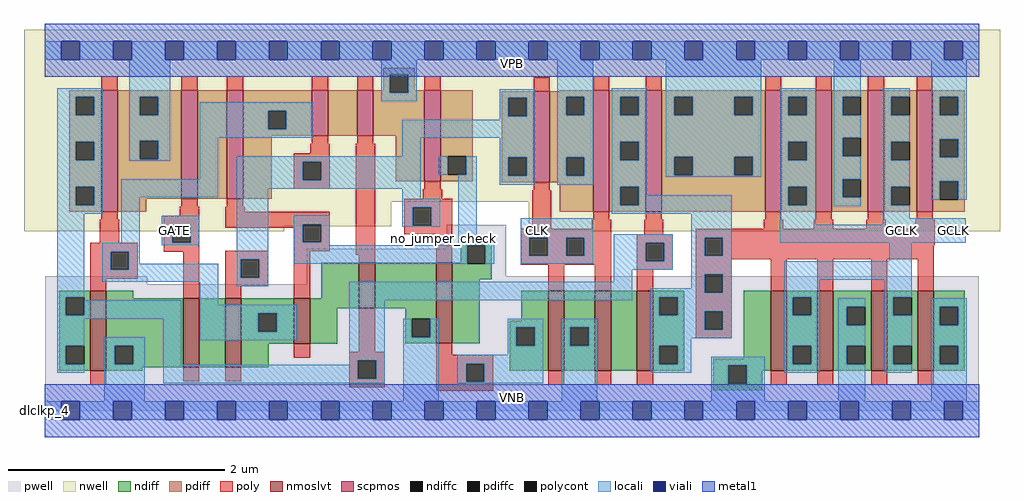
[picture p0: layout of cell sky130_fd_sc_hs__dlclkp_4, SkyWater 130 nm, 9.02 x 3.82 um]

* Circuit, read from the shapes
.subckt sky130_fd_sc_hs__dlclkp_4 CLK GATE VGND VNB VPB VPWR GCLK
XM1 VGND n1 n2 VNB sky130_fd_pr__nfet_01v8_lvt w=0.74 l=0.15
XM2 n3 GATE VGND VNB sky130_fd_pr__nfet_01v8_lvt w=0.64 l=0.15
XM3 n1 n4 n3 VNB sky130_fd_pr__nfet_01v8_lvt w=0.64 l=0.15
XM4 n5 n6 n1 VNB sky130_fd_pr__nfet_01v8_lvt w=0.42 l=0.15
XM5 VGND n2 n5 VNB sky130_fd_pr__nfet_01v8_lvt w=0.42 l=0.15
XM6 n6 n4 VGND VNB sky130_fd_pr__nfet_01v8_lvt w=0.74 l=0.15
XM7 VGND CLK n4 VNB sky130_fd_pr__nfet_01v8_lvt w=0.74 l=0.15
XM8 n7 CLK VGND VNB sky130_fd_pr__nfet_01v8_lvt w=0.74 l=0.15
XM9 n8 n2 n7 VNB sky130_fd_pr__nfet_01v8_lvt w=0.74 l=0.15
XM10 GCLK n8 VGND VNB sky130_fd_pr__nfet_01v8_lvt w=0.74 l=0.15 m=4
XM11 VPWR n1 n2 VPB sky130_fd_pr__pfet_01v8 w=1.12 l=0.15
XM12 n9 GATE VPWR VPB sky130_fd_pr__pfet_01v8 w=1 l=0.15
XM13 n1 n6 n9 VPB sky130_fd_pr__pfet_01v8 w=1 l=0.15
XM14 n10 n4 n1 VPB sky130_fd_pr__pfet_01v8 w=0.42 l=0.15
XM15 VPWR n2 n10 VPB sky130_fd_pr__pfet_01v8 w=0.42 l=0.15
XM16 n6 n4 VPWR VPB sky130_fd_pr__pfet_01v8 w=0.84 l=0.15
XM17 VPWR CLK n4 VPB sky130_fd_pr__pfet_01v8 w=0.84 l=0.15
XM18 n8 CLK VPWR VPB sky130_fd_pr__pfet_01v8 w=1.12 l=0.15
XM19 VPWR n2 n8 VPB sky130_fd_pr__pfet_01v8 w=1.12 l=0.15
XM20 GCLK n8 VPWR VPB sky130_fd_pr__pfet_01v8 w=1.12 l=0.15 m=4
.ends

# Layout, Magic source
magic
tech sky130A
magscale 1 2
<< nwell >>
rect -38 386 1766 704
rect -38 341 641 386
rect -38 332 443 341
rect 895 332 1766 386
<< pwell >>
rect 743 299 853 344
rect 485 248 853 299
rect 1 234 190 248
rect 485 234 1727 248
rect 1 49 1727 234
rect 0 0 1728 49
<< scpmos >>
rect 105 368 135 592
rect 253 392 283 592
rect 337 392 367 592
rect 494 508 524 592
rect 578 508 608 592
rect 702 424 732 592
rect 904 422 934 590
rect 1014 368 1044 592
rect 1111 368 1141 592
rect 1332 368 1362 592
rect 1425 368 1455 592
rect 1522 368 1552 592
rect 1612 368 1642 592
<< nmoslvt >>
rect 84 74 114 222
rect 256 80 286 208
rect 334 80 364 208
rect 461 124 491 208
rect 581 189 611 273
rect 724 125 754 273
rect 931 74 961 222
rect 1017 74 1047 222
rect 1095 74 1125 222
rect 1342 74 1372 222
rect 1428 74 1458 222
rect 1528 74 1558 222
rect 1614 74 1644 222
<< ndiff >>
rect 27 210 84 222
rect 27 176 39 210
rect 73 176 84 210
rect 27 120 84 176
rect 27 86 39 120
rect 73 86 84 120
rect 27 74 84 86
rect 114 208 164 222
rect 769 306 827 318
rect 769 273 781 306
rect 511 208 581 273
rect 114 120 256 208
rect 114 86 130 120
rect 164 86 256 120
rect 114 80 256 86
rect 286 80 334 208
rect 364 180 461 208
rect 364 146 395 180
rect 429 146 461 180
rect 364 124 461 146
rect 491 189 581 208
rect 611 189 724 273
rect 491 124 541 189
rect 364 80 414 124
rect 667 170 724 189
rect 667 136 679 170
rect 713 136 724 170
rect 667 125 724 136
rect 754 272 781 273
rect 815 272 827 306
rect 754 243 827 272
rect 754 125 804 243
rect 881 166 931 222
rect 860 154 931 166
rect 114 74 181 80
rect 860 120 872 154
rect 906 120 931 154
rect 860 74 931 120
rect 961 154 1017 222
rect 961 120 972 154
rect 1006 120 1017 154
rect 961 74 1017 120
rect 1047 74 1095 222
rect 1125 210 1182 222
rect 1125 176 1136 210
rect 1170 176 1182 210
rect 1125 120 1182 176
rect 1125 86 1136 120
rect 1170 86 1182 120
rect 1292 96 1342 222
rect 1125 74 1182 86
rect 1236 84 1342 96
rect 1236 50 1264 84
rect 1298 74 1342 84
rect 1372 210 1428 222
rect 1372 176 1383 210
rect 1417 176 1428 210
rect 1372 120 1428 176
rect 1372 86 1383 120
rect 1417 86 1428 120
rect 1372 74 1428 86
rect 1458 192 1528 222
rect 1458 158 1483 192
rect 1517 158 1528 192
rect 1458 120 1528 158
rect 1458 86 1483 120
rect 1517 86 1528 120
rect 1458 74 1528 86
rect 1558 210 1614 222
rect 1558 176 1569 210
rect 1603 176 1614 210
rect 1558 120 1614 176
rect 1558 86 1569 120
rect 1603 86 1614 120
rect 1558 74 1614 86
rect 1644 192 1701 222
rect 1644 158 1655 192
rect 1689 158 1701 192
rect 1644 120 1701 158
rect 1644 86 1655 120
rect 1689 86 1701 120
rect 1644 74 1701 86
rect 1298 50 1327 74
rect 1236 38 1327 50
<< pdiff >>
rect 626 622 684 634
rect 626 592 638 622
rect 46 580 105 592
rect 46 546 58 580
rect 92 546 105 580
rect 46 497 105 546
rect 46 463 58 497
rect 92 463 105 497
rect 46 414 105 463
rect 46 380 58 414
rect 92 380 105 414
rect 46 368 105 380
rect 135 580 253 592
rect 135 546 176 580
rect 210 546 253 580
rect 135 499 253 546
rect 135 465 176 499
rect 210 465 253 499
rect 135 392 253 465
rect 283 392 337 592
rect 367 554 494 592
rect 367 520 413 554
rect 447 520 494 554
rect 367 508 494 520
rect 524 508 578 592
rect 608 588 638 592
rect 672 592 684 622
rect 672 588 702 592
rect 608 508 702 588
rect 367 392 420 508
rect 135 368 188 392
rect 649 424 702 508
rect 732 470 791 592
rect 952 590 1014 592
rect 732 436 745 470
rect 779 436 791 470
rect 732 424 791 436
rect 845 578 904 590
rect 845 544 857 578
rect 891 544 904 578
rect 845 468 904 544
rect 845 434 857 468
rect 891 434 904 468
rect 845 422 904 434
rect 934 580 1014 590
rect 934 546 964 580
rect 998 546 1014 580
rect 934 468 1014 546
rect 934 434 964 468
rect 998 434 1014 468
rect 934 422 1014 434
rect 952 368 1014 422
rect 1044 580 1111 592
rect 1044 546 1064 580
rect 1098 546 1111 580
rect 1044 497 1111 546
rect 1044 463 1064 497
rect 1098 463 1111 497
rect 1044 414 1111 463
rect 1044 380 1064 414
rect 1098 380 1111 414
rect 1044 368 1111 380
rect 1141 580 1332 592
rect 1141 546 1164 580
rect 1198 546 1275 580
rect 1309 546 1332 580
rect 1141 469 1332 546
rect 1141 435 1164 469
rect 1198 435 1275 469
rect 1309 435 1332 469
rect 1141 368 1332 435
rect 1362 580 1425 592
rect 1362 546 1375 580
rect 1409 546 1425 580
rect 1362 497 1425 546
rect 1362 463 1375 497
rect 1409 463 1425 497
rect 1362 414 1425 463
rect 1362 380 1375 414
rect 1409 380 1425 414
rect 1362 368 1425 380
rect 1455 580 1522 592
rect 1455 546 1475 580
rect 1509 546 1522 580
rect 1455 504 1522 546
rect 1455 470 1475 504
rect 1509 470 1522 504
rect 1455 428 1522 470
rect 1455 394 1475 428
rect 1509 394 1522 428
rect 1455 368 1522 394
rect 1552 580 1612 592
rect 1552 546 1565 580
rect 1599 546 1612 580
rect 1552 497 1612 546
rect 1552 463 1565 497
rect 1599 463 1612 497
rect 1552 414 1612 463
rect 1552 380 1565 414
rect 1599 380 1612 414
rect 1552 368 1612 380
rect 1642 580 1701 592
rect 1642 546 1655 580
rect 1689 546 1701 580
rect 1642 502 1701 546
rect 1642 468 1655 502
rect 1689 468 1701 502
rect 1642 424 1701 468
rect 1642 390 1655 424
rect 1689 390 1701 424
rect 1642 368 1701 390
<< ndiffc >>
rect 39 176 73 210
rect 39 86 73 120
rect 130 86 164 120
rect 395 146 429 180
rect 679 136 713 170
rect 781 272 815 306
rect 872 120 906 154
rect 972 120 1006 154
rect 1136 176 1170 210
rect 1136 86 1170 120
rect 1264 50 1298 84
rect 1383 176 1417 210
rect 1383 86 1417 120
rect 1483 158 1517 192
rect 1483 86 1517 120
rect 1569 176 1603 210
rect 1569 86 1603 120
rect 1655 158 1689 192
rect 1655 86 1689 120
<< pdiffc >>
rect 58 546 92 580
rect 58 463 92 497
rect 58 380 92 414
rect 176 546 210 580
rect 176 465 210 499
rect 413 520 447 554
rect 638 588 672 622
rect 745 436 779 470
rect 857 544 891 578
rect 857 434 891 468
rect 964 546 998 580
rect 964 434 998 468
rect 1064 546 1098 580
rect 1064 463 1098 497
rect 1064 380 1098 414
rect 1164 546 1198 580
rect 1275 546 1309 580
rect 1164 435 1198 469
rect 1275 435 1309 469
rect 1375 546 1409 580
rect 1375 463 1409 497
rect 1375 380 1409 414
rect 1475 546 1509 580
rect 1475 470 1509 504
rect 1475 394 1509 428
rect 1565 546 1599 580
rect 1565 463 1599 497
rect 1565 380 1599 414
rect 1655 546 1689 580
rect 1655 468 1689 502
rect 1655 390 1689 424
<< poly >>
rect 105 592 135 618
rect 253 592 283 618
rect 337 592 367 618
rect 494 592 524 618
rect 578 592 608 618
rect 702 592 732 618
rect 494 493 524 508
rect 578 493 608 508
rect 491 476 527 493
rect 461 460 527 476
rect 461 426 477 460
rect 511 426 527 460
rect 461 410 527 426
rect 253 377 283 392
rect 337 377 367 392
rect 105 353 135 368
rect 250 360 286 377
rect 102 310 138 353
rect 220 344 286 360
rect 220 310 236 344
rect 270 310 286 344
rect 334 368 370 377
rect 334 345 527 368
rect 334 338 477 345
rect 84 294 172 310
rect 220 294 286 310
rect 461 311 477 338
rect 511 311 527 345
rect 84 260 122 294
rect 156 260 172 294
rect 84 244 172 260
rect 84 222 114 244
rect 256 208 286 294
rect 334 280 413 296
rect 334 246 363 280
rect 397 246 413 280
rect 334 230 413 246
rect 461 295 527 311
rect 334 208 364 230
rect 461 208 491 295
rect 575 288 611 493
rect 904 590 934 616
rect 1014 592 1044 618
rect 1111 592 1141 618
rect 1332 592 1362 618
rect 1425 592 1455 618
rect 1522 592 1552 618
rect 1612 592 1642 618
rect 702 409 732 424
rect 699 392 735 409
rect 904 407 934 422
rect 665 376 754 392
rect 665 342 681 376
rect 715 342 754 376
rect 665 326 754 342
rect 901 336 937 407
rect 1014 353 1044 368
rect 1111 353 1141 368
rect 1332 353 1362 368
rect 1425 353 1455 368
rect 1522 353 1552 368
rect 1612 353 1642 368
rect 1011 336 1047 353
rect 581 273 611 288
rect 724 273 754 326
rect 880 320 1047 336
rect 1108 326 1144 353
rect 1329 336 1365 353
rect 1422 336 1458 353
rect 1519 336 1555 353
rect 1609 336 1645 353
rect 461 98 491 124
rect 581 109 611 189
rect 880 286 896 320
rect 930 286 964 320
rect 998 286 1047 320
rect 880 270 1047 286
rect 931 222 961 270
rect 1017 222 1047 270
rect 1095 310 1161 326
rect 1095 276 1111 310
rect 1145 276 1161 310
rect 1095 260 1161 276
rect 1204 320 1645 336
rect 1204 286 1220 320
rect 1254 306 1645 320
rect 1254 286 1644 306
rect 1204 280 1644 286
rect 1095 222 1125 260
rect 1204 252 1270 280
rect 563 93 629 109
rect 84 48 114 74
rect 256 54 286 80
rect 334 54 364 80
rect 563 59 579 93
rect 613 59 629 93
rect 563 43 629 59
rect 724 103 754 125
rect 724 87 829 103
rect 724 53 779 87
rect 813 53 829 87
rect 1204 218 1220 252
rect 1254 218 1270 252
rect 1342 222 1372 280
rect 1428 222 1458 280
rect 1528 222 1558 280
rect 1614 222 1644 280
rect 1204 184 1270 218
rect 1204 150 1220 184
rect 1254 150 1270 184
rect 1204 134 1270 150
rect 724 37 829 53
rect 931 48 961 74
rect 1017 48 1047 74
rect 1095 48 1125 74
rect 1342 48 1372 74
rect 1428 48 1458 74
rect 1528 48 1558 74
rect 1614 48 1644 74
<< polycont >>
rect 477 426 511 460
rect 236 310 270 344
rect 477 311 511 345
rect 122 260 156 294
rect 363 246 397 280
rect 681 342 715 376
rect 896 286 930 320
rect 964 286 998 320
rect 1111 276 1145 310
rect 1220 286 1254 320
rect 579 59 613 93
rect 779 53 813 87
rect 1220 218 1254 252
rect 1220 150 1254 184
<< locali >>
rect 0 649 31 683
rect 65 649 127 683
rect 161 649 223 683
rect 257 649 319 683
rect 353 649 415 683
rect 449 649 511 683
rect 545 649 607 683
rect 641 649 703 683
rect 737 649 799 683
rect 833 649 895 683
rect 929 649 991 683
rect 1025 649 1087 683
rect 1121 649 1183 683
rect 1217 649 1279 683
rect 1313 649 1375 683
rect 1409 649 1471 683
rect 1505 649 1567 683
rect 1601 649 1663 683
rect 1697 649 1728 683
rect 23 580 108 596
rect 23 546 58 580
rect 92 546 108 580
rect 23 497 108 546
rect 23 463 58 497
rect 92 463 108 497
rect 23 414 108 463
rect 157 580 232 649
rect 157 546 176 580
rect 210 546 232 580
rect 622 622 688 649
rect 622 588 638 622
rect 672 588 688 622
rect 622 572 688 588
rect 841 578 907 594
rect 157 499 232 546
rect 157 465 176 499
rect 210 465 232 499
rect 157 462 232 465
rect 287 554 497 570
rect 287 520 413 554
rect 447 520 497 554
rect 841 544 857 578
rect 891 544 907 578
rect 841 538 907 544
rect 287 504 497 520
rect 661 504 907 538
rect 287 428 321 504
rect 661 470 695 504
rect 23 380 58 414
rect 92 380 108 414
rect 23 364 108 380
rect 142 394 321 428
rect 355 460 695 470
rect 355 426 477 460
rect 511 426 695 460
rect 729 436 745 470
rect 779 436 799 470
rect 355 410 695 426
rect 23 210 73 364
rect 142 310 176 394
rect 107 294 176 310
rect 217 344 286 360
rect 217 310 236 344
rect 270 310 286 344
rect 217 306 286 310
rect 107 260 122 294
rect 156 272 176 294
rect 355 280 413 410
rect 661 392 695 410
rect 661 376 731 392
rect 156 260 321 272
rect 107 238 321 260
rect 23 176 39 210
rect 73 176 253 204
rect 23 170 253 176
rect 23 120 73 170
rect 23 86 39 120
rect 23 70 73 86
rect 110 120 185 136
rect 110 86 130 120
rect 164 86 185 120
rect 110 17 185 86
rect 219 85 253 170
rect 287 196 321 238
rect 355 246 363 280
rect 397 246 413 280
rect 461 345 527 361
rect 461 311 477 345
rect 511 311 527 345
rect 661 342 681 376
rect 715 342 731 376
rect 661 340 731 342
rect 461 306 527 311
rect 765 322 799 436
rect 841 468 907 504
rect 841 434 857 468
rect 891 434 907 468
rect 841 418 907 434
rect 948 580 1014 649
rect 948 546 964 580
rect 998 546 1014 580
rect 948 468 1014 546
rect 948 434 964 468
rect 998 434 1014 468
rect 948 418 1014 434
rect 1048 580 1114 596
rect 1048 546 1064 580
rect 1098 546 1114 580
rect 1048 497 1114 546
rect 1048 463 1064 497
rect 1098 463 1114 497
rect 1048 414 1114 463
rect 1148 580 1325 649
rect 1148 546 1164 580
rect 1198 546 1275 580
rect 1309 546 1325 580
rect 1148 469 1325 546
rect 1148 435 1164 469
rect 1198 435 1275 469
rect 1309 435 1325 469
rect 1148 432 1325 435
rect 1359 580 1425 596
rect 1359 546 1375 580
rect 1409 546 1425 580
rect 1359 497 1425 546
rect 1359 463 1375 497
rect 1409 463 1425 497
rect 1048 380 1064 414
rect 1098 398 1114 414
rect 1359 414 1425 463
rect 1098 380 1270 398
rect 1048 364 1270 380
rect 765 306 831 322
rect 461 272 781 306
rect 815 272 831 306
rect 880 320 1014 356
rect 880 286 896 320
rect 930 286 964 320
rect 998 286 1014 320
rect 880 272 1014 286
rect 1052 310 1161 326
rect 1052 276 1111 310
rect 1145 276 1161 310
rect 355 230 413 246
rect 1052 260 1161 276
rect 1195 320 1270 364
rect 1195 286 1220 320
rect 1254 286 1270 320
rect 1359 380 1375 414
rect 1409 380 1425 414
rect 1359 344 1425 380
rect 1459 580 1509 649
rect 1459 546 1475 580
rect 1459 504 1509 546
rect 1459 470 1475 504
rect 1459 428 1509 470
rect 1459 394 1475 428
rect 1459 378 1509 394
rect 1549 580 1599 596
rect 1549 546 1565 580
rect 1549 497 1599 546
rect 1549 463 1565 497
rect 1549 414 1599 463
rect 1549 380 1565 414
rect 1639 580 1705 649
rect 1639 546 1655 580
rect 1689 546 1705 580
rect 1639 502 1705 546
rect 1639 468 1655 502
rect 1689 468 1705 502
rect 1639 424 1705 468
rect 1639 390 1655 424
rect 1689 390 1705 424
rect 1549 356 1599 380
rect 1549 344 1703 356
rect 1359 310 1703 344
rect 1052 238 1086 260
rect 563 204 1086 238
rect 1195 252 1270 286
rect 1561 276 1603 310
rect 1195 226 1220 252
rect 1120 218 1220 226
rect 1254 218 1270 252
rect 1120 210 1270 218
rect 287 180 466 196
rect 287 146 395 180
rect 429 146 466 180
rect 287 130 466 146
rect 563 93 629 204
rect 1120 176 1136 210
rect 1170 184 1270 210
rect 1170 176 1220 184
rect 563 85 579 93
rect 219 59 579 85
rect 613 59 629 93
rect 219 51 629 59
rect 663 136 679 170
rect 713 136 729 170
rect 663 17 729 136
rect 856 154 922 170
rect 856 120 872 154
rect 906 120 922 154
rect 856 103 922 120
rect 763 87 922 103
rect 763 53 779 87
rect 813 53 922 87
rect 763 51 922 53
rect 956 154 1022 170
rect 956 120 972 154
rect 1006 120 1022 154
rect 956 17 1022 120
rect 1120 150 1220 176
rect 1254 150 1270 184
rect 1120 134 1270 150
rect 1367 242 1603 276
rect 1367 210 1433 242
rect 1367 176 1383 210
rect 1417 176 1433 210
rect 1553 210 1603 242
rect 1120 120 1195 134
rect 1120 86 1136 120
rect 1170 86 1195 120
rect 1367 120 1433 176
rect 1120 70 1195 86
rect 1232 84 1331 100
rect 1232 50 1264 84
rect 1298 50 1331 84
rect 1367 86 1383 120
rect 1417 86 1433 120
rect 1367 70 1433 86
rect 1467 192 1517 208
rect 1467 158 1483 192
rect 1467 120 1517 158
rect 1467 86 1483 120
rect 1232 17 1331 50
rect 1467 17 1517 86
rect 1553 176 1569 210
rect 1553 120 1603 176
rect 1553 86 1569 120
rect 1553 70 1603 86
rect 1639 192 1705 208
rect 1639 158 1655 192
rect 1689 158 1705 192
rect 1639 120 1705 158
rect 1639 86 1655 120
rect 1689 86 1705 120
rect 1639 17 1705 86
rect 0 -17 31 17
rect 65 -17 127 17
rect 161 -17 223 17
rect 257 -17 319 17
rect 353 -17 415 17
rect 449 -17 511 17
rect 545 -17 607 17
rect 641 -17 703 17
rect 737 -17 799 17
rect 833 -17 895 17
rect 929 -17 991 17
rect 1025 -17 1087 17
rect 1121 -17 1183 17
rect 1217 -17 1279 17
rect 1313 -17 1375 17
rect 1409 -17 1471 17
rect 1505 -17 1567 17
rect 1601 -17 1663 17
rect 1697 -17 1728 17
<< viali >>
rect 31 649 65 683
rect 127 649 161 683
rect 223 649 257 683
rect 319 649 353 683
rect 415 649 449 683
rect 511 649 545 683
rect 607 649 641 683
rect 703 649 737 683
rect 799 649 833 683
rect 895 649 929 683
rect 991 649 1025 683
rect 1087 649 1121 683
rect 1183 649 1217 683
rect 1279 649 1313 683
rect 1375 649 1409 683
rect 1471 649 1505 683
rect 1567 649 1601 683
rect 1663 649 1697 683
rect 31 -17 65 17
rect 127 -17 161 17
rect 223 -17 257 17
rect 319 -17 353 17
rect 415 -17 449 17
rect 511 -17 545 17
rect 607 -17 641 17
rect 703 -17 737 17
rect 799 -17 833 17
rect 895 -17 929 17
rect 991 -17 1025 17
rect 1087 -17 1121 17
rect 1183 -17 1217 17
rect 1279 -17 1313 17
rect 1375 -17 1409 17
rect 1471 -17 1505 17
rect 1567 -17 1601 17
rect 1663 -17 1697 17
<< metal1 >>
rect 0 683 1728 715
rect 0 649 31 683
rect 65 649 127 683
rect 161 649 223 683
rect 257 649 319 683
rect 353 649 415 683
rect 449 649 511 683
rect 545 649 607 683
rect 641 649 703 683
rect 737 649 799 683
rect 833 649 895 683
rect 929 649 991 683
rect 1025 649 1087 683
rect 1121 649 1183 683
rect 1217 649 1279 683
rect 1313 649 1375 683
rect 1409 649 1471 683
rect 1505 649 1567 683
rect 1601 649 1663 683
rect 1697 649 1728 683
rect 0 617 1728 649
rect 0 17 1728 49
rect 0 -17 31 17
rect 65 -17 127 17
rect 161 -17 223 17
rect 257 -17 319 17
rect 353 -17 415 17
rect 449 -17 511 17
rect 545 -17 607 17
rect 641 -17 703 17
rect 737 -17 799 17
rect 833 -17 895 17
rect 929 -17 991 17
rect 1025 -17 1087 17
rect 1121 -17 1183 17
rect 1217 -17 1279 17
rect 1313 -17 1375 17
rect 1409 -17 1471 17
rect 1505 -17 1567 17
rect 1601 -17 1663 17
rect 1697 -17 1728 17
rect 0 -49 1728 -17
<< labels >>
flabel comment s 738 319 738 319 0 FreeSans 200 0 0 0 no_jumper_check
rlabel comment s 0 0 0 0 4 dlclkp_4
flabel pwell s 0 0 1728 49 0 FreeSans 200 0 0 0 VNB
port 4 nsew ground bidirectional
flabel nwell s 0 617 1728 666 0 FreeSans 200 0 0 0 VPB
port 5 nsew power bidirectional
flabel metal1 s 0 617 1728 666 0 FreeSans 340 0 0 0 VPWR
port 6 nsew power bidirectional
flabel metal1 s 0 0 1728 49 0 FreeSans 340 0 0 0 VGND
port 3 nsew ground bidirectional
flabel locali s 223 316 257 350 0 FreeSans 340 0 0 0 GATE
port 2 nsew signal input
flabel locali s 895 316 929 350 0 FreeSans 340 0 0 0 CLK
port 1 nsew clock input
flabel locali s 1567 316 1601 350 0 FreeSans 340 0 0 0 GCLK
port 7 nsew signal output
flabel locali s 1663 316 1697 350 0 FreeSans 340 0 0 0 GCLK
port 7 nsew signal output
<< properties >>
string LEFsite unit
string LEFclass CORE
string FIXED_BBOX 0 0 1728 666
string GDS_FILE $PDKPATH/libs.ref/sky130_fd_sc_hs/gds/sky130_fd_sc_hs.gds
string LEFsymmetry X Y
string GDS_END 2560212
string GDS_START 2547258
<< end >>
